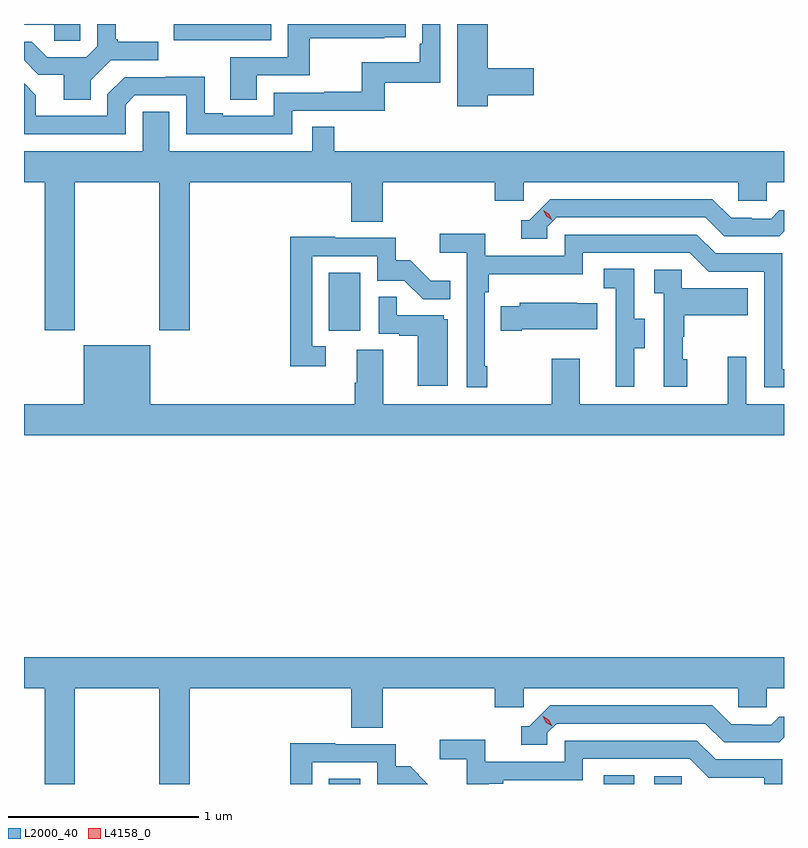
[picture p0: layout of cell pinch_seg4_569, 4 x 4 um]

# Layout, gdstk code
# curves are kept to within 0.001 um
import gdstk
lib = gdstk.Library(unit=1e-6, precision=1e-09)
def R(c, l, rs):  # rectangles x0, y0, x1, y1
    for r in rs: c.add(gdstk.rectangle(r[:2], r[2:], *l))
def P(c, l, *ps):  # polygons
    for p in ps: c.add(gdstk.Polygon(p, *l))
L2000_40 = (2000, 40)
L4158_0 = (4158, 0)

pinch_seg4_569 = lib.new_cell('pinch_seg4_569')
R(pinch_seg4_569, L2000_40, [(1090.394,772.341,1090.558,772.369), (1091.841,772.341,1092,772.388), (1092.105,772.341,1092.252,772.383), (1090.394,774.726,1090.558,775.033), (1089.576,776.256,1090.091,776.341)])
P(pinch_seg4_569, L2000_40, [(1089.324,775.917),(1089.372,775.965),(1089.642,775.965),(1089.642,775.761),(1090.2,775.761),(1090.2,775.884),(1090.687,775.884),(1090.687,776.031),(1090.98,776.031),(1090.98,776.341),(1090.884,776.341),(1090.884,776.236),(1090.871,776.236),(1090.871,776.14),(1090.566,776.14),(1090.566,775.985),(1090.369,775.985),(1090.369,775.98),(1090.104,775.98),(1090.104,775.857),(1089.835,775.857),(1089.835,775.87),(1089.739,775.87),(1089.739,776.063),(1089.534,776.063),(1089.534,776.061),(1089.318,776.061),(1089.228,775.971),(1089.228,775.857),(1088.851,775.857),(1088.851,775.967),(1088.789,776.029),(1088.789,775.761),(1089.324,775.761)],
  [(1089.084,776.341),(1088.789,776.341),(1088.789,776.337),(1088.947,776.337),(1088.947,776.253),(1089.084,776.253)],
  [(1090.015,776.07),(1090.292,776.07),(1090.292,776.266),(1090.685,776.266),(1090.685,776.271),(1090.798,776.271),(1090.798,776.341),(1090.176,776.341),(1090.176,776.166),(1089.875,776.166),(1089.875,775.942),(1090.015,775.942)],
  [(1091.23,775.966),(1091.473,775.966),(1091.473,776.108),(1091.23,776.108),(1091.23,776.341),(1091.069,776.341),(1091.069,775.908),(1091.23,775.908)],
  [(1089.139,776.044),(1089.246,776.151),(1089.496,776.151),(1089.496,776.248),(1089.283,776.248),(1089.283,776.26),(1089.271,776.26),(1089.271,776.341),(1089.174,776.341),(1089.174,776.223),(1089.117,776.166),(1088.911,776.166),(1088.83,776.247),(1088.789,776.247),(1088.789,776.149),(1088.864,776.074),(1088.999,776.074),(1088.999,775.942),(1089.139,775.942)],
  [(1089.057,775.508),(1089.502,775.508),(1089.502,774.729),(1089.662,774.729),(1089.662,775.508),(1090.511,775.508),(1090.511,775.3),(1090.676,775.3),(1090.676,775.508),(1091.267,775.508),(1091.267,775.41),(1091.418,775.41),(1091.418,775.508),(1092.549,775.508),(1092.549,775.41),(1092.699,775.41),(1092.699,775.508),(1092.789,775.508),(1092.789,775.672),(1090.421,775.672),(1090.421,775.799),(1090.305,775.799),(1090.305,775.672),(1089.553,775.672),(1089.553,775.88),(1089.414,775.88),(1089.414,775.672),(1088.789,775.672),(1088.789,775.508),(1088.897,775.508),(1088.897,774.729),(1089.057,774.729)],
  [(1091.544,775.275),(1091.592,775.323),(1092.375,775.323),(1092.474,775.224),(1092.763,775.224),(1092.789,775.25),(1092.789,775.36),(1092.763,775.36),(1092.721,775.317),(1092.618,775.317),(1092.618,775.32),(1092.511,775.32),(1092.412,775.419),(1091.559,775.419),(1091.448,775.308),(1091.405,775.308),(1091.405,775.212),(1091.544,775.212)],
  [(1091.227,774.541),(1091.214,774.541),(1091.214,774.929),(1091.234,774.929),(1091.234,775.025),(1091.73,775.025),(1091.73,775.137),(1092.294,775.137),(1092.393,775.038),(1092.684,775.038),(1092.684,774.429),(1092.789,774.429),(1092.789,774.525),(1092.78,774.525),(1092.78,775.134),(1092.43,775.134),(1092.331,775.233),(1091.634,775.233),(1091.634,775.122),(1091.216,775.122),(1091.216,775.238),(1090.977,775.238),(1090.977,775.136),(1091.118,775.136),(1091.118,774.429),(1091.227,774.429)],
  [(1090.378,774.645),(1090.305,774.645),(1090.305,775.119),(1090.647,775.119),(1090.647,774.99),(1090.791,774.99),(1090.889,774.892),(1091.033,774.892),(1091.033,774.991),(1090.929,774.991),(1090.822,775.098),(1090.746,775.098),(1090.746,775.215),(1090.427,775.215),(1090.427,775.22),(1090.189,775.22),(1090.189,774.54),(1090.378,774.54)],
  [(1092.001,774.634),(1092.055,774.634),(1092.055,774.789),(1092,774.789),(1092,775.052),(1091.841,775.052),(1091.841,774.949),(1091.904,774.949),(1091.904,774.645),(1091.903,774.645),(1091.903,774.432),(1092.001,774.432)],
  [(1092.28,774.576),(1092.255,774.576),(1092.255,774.695),(1092.265,774.695),(1092.265,774.809),(1092.599,774.809),(1092.599,774.949),(1092.252,774.949),(1092.252,775.047),(1092.105,775.047),(1092.105,774.923),(1092.156,774.923),(1092.156,774.432),(1092.28,774.432)],
  [(1091.02,774.786),(1090.998,774.786),(1090.998,774.807),(1090.751,774.807),(1090.751,774.905),(1090.656,774.905),(1090.656,774.711),(1090.763,774.711),(1090.763,774.699),(1090.862,774.699),(1090.862,774.438),(1091.02,774.438)],
  [(1091.41,774.734),(1091.807,774.734),(1091.807,774.871),(1091.699,774.871),(1091.699,774.874),(1091.397,774.874),(1091.397,774.856),(1091.299,774.856),(1091.299,774.727),(1091.41,774.727)],
  [(1092.789,774.34),(1092.591,774.34),(1092.591,774.589),(1092.494,774.589),(1092.494,774.34),(1091.713,774.34),(1091.713,774.58),(1091.566,774.58),(1091.566,774.34),(1090.681,774.34),(1090.681,774.626),(1090.541,774.626),(1090.541,774.452),(1090.529,774.452),(1090.529,774.34),(1089.454,774.34),(1089.454,774.649),(1089.104,774.649),(1089.104,774.34),(1088.789,774.34),(1088.789,774.176),(1092.789,774.176)],
  [(1088.789,772.844),(1088.897,772.844),(1088.897,772.341),(1089.057,772.341),(1089.057,772.844),(1089.502,772.844),(1089.502,772.341),(1089.662,772.341),(1089.662,772.844),(1090.511,772.844),(1090.511,772.636),(1090.676,772.636),(1090.676,772.844),(1091.267,772.844),(1091.267,772.746),(1091.418,772.746),(1091.418,772.844),(1092.549,772.844),(1092.549,772.746),(1092.699,772.746),(1092.699,772.844),(1092.789,772.844),(1092.789,773.008),(1088.789,773.008)],
  [(1091.544,772.611),(1091.592,772.659),(1092.375,772.659),(1092.474,772.56),(1092.763,772.56),(1092.789,772.586),(1092.789,772.696),(1092.763,772.696),(1092.721,772.653),(1092.618,772.653),(1092.618,772.656),(1092.511,772.656),(1092.412,772.755),(1091.559,772.755),(1091.448,772.644),(1091.405,772.644),(1091.405,772.548),(1091.544,772.548)],
  [(1091.234,772.342),(1091.311,772.342),(1091.311,772.361),(1091.73,772.361),(1091.73,772.473),(1092.294,772.473),(1092.393,772.374),(1092.684,772.374),(1092.684,772.341),(1092.78,772.341),(1092.78,772.47),(1092.43,772.47),(1092.331,772.569),(1091.634,772.569),(1091.634,772.458),(1091.216,772.458),(1091.216,772.574),(1090.977,772.574),(1090.977,772.472),(1091.118,772.472),(1091.118,772.341)],
  [(1090.305,772.455),(1090.647,772.455),(1090.647,772.341),(1090.915,772.341),(1090.822,772.434),(1090.746,772.434),(1090.746,772.551),(1090.427,772.551),(1090.427,772.556),(1090.189,772.556),(1090.189,772.341),(1090.305,772.341)])
P(pinch_seg4_569, L4158_0, [(1091.568,772.645),(1091.537,772.664),(1091.52,772.697),(1091.52,772.697),(1091.521,772.697),(1091.552,772.678),(1091.568,772.646),(1091.568,772.645)],
  [(1091.568,775.309),(1091.537,775.328),(1091.521,775.361),(1091.521,775.361),(1091.521,775.361),(1091.552,775.342),(1091.568,775.309),(1091.568,775.309)])

lib.write_gds('pinch_seg4_569.gds')
